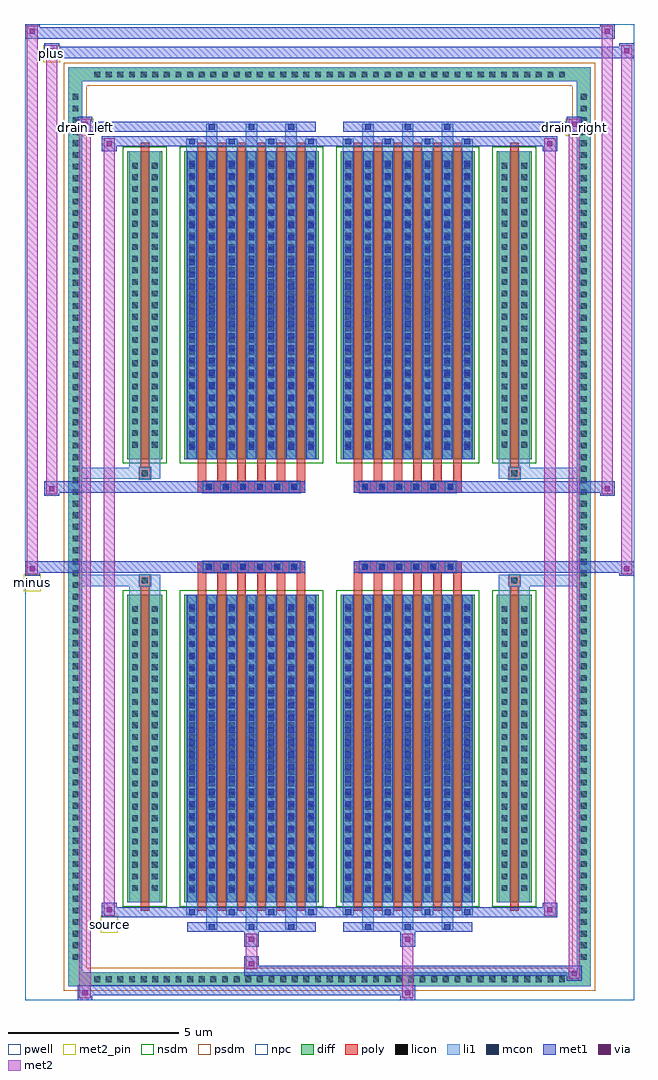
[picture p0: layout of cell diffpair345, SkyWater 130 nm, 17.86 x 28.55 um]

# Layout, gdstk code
import gdstk
lib = gdstk.Library(unit=1e-6, precision=5e-09)
def R(c, l, rs):  # rectangles x0, y0, x1, y1
    for r in rs: c.add(gdstk.rectangle(r[:2], r[2:], *l))
def A(c, l, x, y, w, h, nx, ny, dx, dy):  # array of equal rectangles
    R(c, l, [(x+i*dx, y+j*dy, x+i*dx+w, y+j*dy+h) for i in range(nx) for j in range(ny)])
def P(c, l, *ps):  # polygons
    for p in ps: c.add(gdstk.Polygon(p, *l))
pwell = (64, 44)
diff = (65, 20)
poly = (66, 20)
licon = (66, 44)
li1 = (67, 20)
mcon = (67, 44)
met1 = (68, 20)
via = (68, 44)
met2_pin = (69, 16)
met2 = (69, 20)
nsdm = (93, 44)
psdm = (94, 20)
npc = (95, 20)

diffpair345 = lib.new_cell('diffpair345')
R(diffpair345, pwell, [(-8.91,-13.84,8.91,14.71), (-6.23,-12.03,-0.01,-0.805), (0.01,-12.03,6.23,-0.805), (-6.23,0.805,-0.01,12.03), (0.01,0.805,6.23,12.03)])
A(diffpair345, diff, -7.005, -13.44, 0.41, 0.41, 41, 2, 0.34, 26.47)
A(diffpair345, diff, -7.64, -12.785, 0.41, 0.41, 1, 75, 0, 0.34)
A(diffpair345, diff, 7.23, -12.785, 0.41, 0.41, 1, 75, 0, 0.34)
R(diffpair345, diff, [(-7.005,-13.44,7.005,-13.03), (-7.64,-12.785,-7.23,12.785), (7.23,-12.785,7.64,12.785), (-5.92,-10.985,-4.89,-1.985), (-4.25,-10.985,-0.32,-1.985), (0.32,-10.985,4.25,-1.985), (4.89,-10.985,5.92,-1.985), (-5.92,1.985,-4.89,10.985), (-4.25,1.985,-0.32,10.985), (0.32,1.985,4.25,10.985), (4.89,1.985,5.92,10.985), (-7.005,13.03,7.005,13.44)])
P(diffpair345, diff, [(7.64,13.44),(-7.64,13.44),(-7.64,-13.03),(-7.23,-13.03),(-7.23,13.03),(7.23,13.03),(7.23,-13.03),(-7.23,-13.03),(-7.64,-13.03),(-7.64,-13.44),(7.64,-13.44)])
A(diffpair345, poly, -3.86, -11.235, 0.25, 9.5, 6, 2, 0.58, 12.97)
A(diffpair345, poly, 0.71, -11.235, 0.25, 9.5, 6, 2, 0.58, 12.97)
A(diffpair345, poly, -3.86, -1.735, 0.25, 0.4, 6, 2, 0.58, 3.07)
A(diffpair345, poly, 0.71, -1.735, 0.25, 0.4, 6, 2, 0.58, 3.07)
A(diffpair345, poly, -3.7, -1.335, 0.33, 0.33, 6, 2, 0.5, 2.34)
A(diffpair345, poly, 0.87, -1.335, 0.33, 0.33, 6, 2, 0.5, 2.34)
R(diffpair345, poly, [(-5.53,-11.235,-5.28,-1.735), (5.28,-11.235,5.53,-1.735), (-5.57,-1.735,-5.24,-1.405), (-5.57,-1.735,-5.24,-1.405), (5.24,-1.735,5.57,-1.405), (5.24,-1.735,5.57,-1.405), (-3.86,-1.335,-0.71,-1.005), (0.71,-1.335,3.86,-1.005), (-3.86,1.005,-0.71,1.335), (0.71,1.005,3.86,1.335), (-5.57,1.405,-5.24,1.735), (-5.57,1.405,-5.24,1.735), (5.24,1.405,5.57,1.735), (5.24,1.405,5.57,1.735), (-5.53,1.735,-5.28,11.235), (5.28,1.735,5.53,11.235)])
A(diffpair345, licon, -6.885, -13.32, 0.17, 0.17, 41, 2, 0.34, 26.47)
A(diffpair345, licon, -7.52, -12.665, 0.17, 0.17, 1, 75, 0, 0.34)
A(diffpair345, licon, 7.35, -12.665, 0.17, 0.17, 1, 75, 0, 0.34)
A(diffpair345, licon, -5.78, -10.65, 0.17, 0.17, 1, 25, 0, 0.34)
A(diffpair345, licon, -5.2, -10.65, 0.17, 0.17, 1, 25, 0, 0.34)
A(diffpair345, licon, -4.11, -10.65, 0.17, 0.17, 7, 25, 0.58, 0.34)
A(diffpair345, licon, 0.46, -10.65, 0.17, 0.17, 7, 25, 0.58, 0.34)
A(diffpair345, licon, 5.03, -10.65, 0.17, 0.17, 1, 25, 0, 0.34)
A(diffpair345, licon, 5.61, -10.65, 0.17, 0.17, 1, 25, 0, 0.34)
A(diffpair345, licon, -3.62, -1.255, 0.17, 0.17, 6, 2, 0.5, 2.34)
A(diffpair345, licon, 0.95, -1.255, 0.17, 0.17, 6, 2, 0.5, 2.34)
A(diffpair345, licon, -5.78, 2.32, 0.17, 0.17, 1, 25, 0, 0.34)
A(diffpair345, licon, -5.2, 2.32, 0.17, 0.17, 1, 25, 0, 0.34)
A(diffpair345, licon, -4.11, 2.32, 0.17, 0.17, 7, 25, 0.58, 0.34)
A(diffpair345, licon, 0.46, 2.32, 0.17, 0.17, 7, 25, 0.58, 0.34)
A(diffpair345, licon, 5.03, 2.32, 0.17, 0.17, 1, 25, 0, 0.34)
A(diffpair345, licon, 5.61, 2.32, 0.17, 0.17, 1, 25, 0, 0.34)
R(diffpair345, licon, [(-5.49,-1.655,-5.32,-1.485), (5.32,-1.655,5.49,-1.485), (-5.49,1.485,-5.32,1.655), (5.32,1.485,5.49,1.655)])
A(diffpair345, li1, -6.965, -13.4, 0.33, 0.33, 41, 2, 0.34, 26.47)
A(diffpair345, li1, -7.6, -12.745, 0.33, 0.33, 1, 75, 0, 0.34)
A(diffpair345, li1, 7.27, -12.745, 0.33, 0.33, 1, 75, 0, 0.34)
A(diffpair345, li1, -3.61, -11.79, 0.33, 0.805, 3, 2, 1.16, 22.775)
A(diffpair345, li1, -3.53, -11.79, 0.17, 0.17, 3, 2, 1.16, 23.41)
A(diffpair345, li1, 0.96, -11.79, 0.33, 0.805, 3, 2, 1.16, 22.775)
A(diffpair345, li1, 1.04, -11.79, 0.17, 0.17, 3, 2, 1.16, 23.41)
A(diffpair345, li1, -4.19, -11.36, 0.33, 0.375, 4, 2, 1.16, 22.345)
A(diffpair345, li1, -4.11, -11.36, 0.17, 0.17, 4, 2, 1.16, 22.55)
A(diffpair345, li1, 0.38, -11.36, 0.33, 0.375, 4, 2, 1.16, 22.345)
A(diffpair345, li1, 0.46, -11.36, 0.17, 0.17, 4, 2, 1.16, 22.55)
A(diffpair345, li1, -4.19, -10.985, 0.33, 9, 7, 2, 0.58, 12.97)
A(diffpair345, li1, 0.38, -10.985, 0.33, 9, 7, 2, 0.58, 12.97)
A(diffpair345, li1, -5.86, -10.73, 0.33, 0.33, 1, 25, 0, 0.34)
A(diffpair345, li1, -5.28, -10.73, 0.33, 0.33, 1, 25, 0, 0.34)
A(diffpair345, li1, -4.19, -10.73, 0.33, 0.33, 7, 25, 0.58, 0.34)
A(diffpair345, li1, 0.38, -10.73, 0.33, 0.33, 7, 25, 0.58, 0.34)
A(diffpair345, li1, 4.95, -10.73, 0.33, 0.33, 1, 25, 0, 0.34)
A(diffpair345, li1, 5.53, -10.73, 0.33, 0.33, 1, 25, 0, 0.34)
A(diffpair345, li1, -4.11, -10.71, 0.17, 0.17, 7, 24, 0.58, 0.36)
A(diffpair345, li1, -4.11, -10.71, 0.17, 8.45, 7, 2, 0.58, 12.97)
A(diffpair345, li1, 0.46, -10.71, 0.17, 0.17, 7, 24, 0.58, 0.36)
A(diffpair345, li1, 0.46, -10.71, 0.17, 8.45, 7, 2, 0.58, 12.97)
A(diffpair345, li1, -3.7, -1.335, 0.33, 0.33, 6, 2, 0.5, 2.34)
A(diffpair345, li1, 0.87, -1.335, 0.33, 0.33, 6, 2, 0.5, 2.34)
A(diffpair345, li1, -5.86, 2.24, 0.33, 0.33, 1, 25, 0, 0.34)
A(diffpair345, li1, -5.28, 2.24, 0.33, 0.33, 1, 25, 0, 0.34)
A(diffpair345, li1, -4.19, 2.24, 0.33, 0.33, 7, 25, 0.58, 0.34)
A(diffpair345, li1, 0.38, 2.24, 0.33, 0.33, 7, 25, 0.58, 0.34)
A(diffpair345, li1, 4.95, 2.24, 0.33, 0.33, 1, 25, 0, 0.34)
A(diffpair345, li1, 5.53, 2.24, 0.33, 0.33, 1, 25, 0, 0.34)
A(diffpair345, li1, -4.11, 2.26, 0.17, 0.17, 7, 24, 0.58, 0.36)
A(diffpair345, li1, 0.46, 2.26, 0.17, 0.17, 7, 24, 0.58, 0.36)
R(diffpair345, li1, [(-7.64,-13.44,-7.23,-13.03), (-7.64,-13.44,-7.23,-13.03), (-7.23,-13.44,7.23,-13.03), (7.23,-13.44,7.64,-13.03), (7.23,-13.44,7.64,-13.03), (-7.64,-13.03,-7.23,13.03), (7.23,-13.03,7.64,13.03), (-5.86,-10.985,-5.53,-1.985), (-5.28,-10.985,-4.95,-1.985), (4.95,-10.985,5.28,-1.985), (5.53,-10.985,5.86,-1.985), (-5.86,-1.985,-5.53,-1.405), (-5.28,-1.985,-4.95,-1.405), (4.95,-1.985,5.28,-1.405), (5.53,-1.985,5.86,-1.405), (-7.64,-1.735,-5.57,-1.405), (-5.86,-1.735,-5.57,-1.405), (-5.57,-1.735,-5.24,-1.405), (-5.24,-1.735,-4.95,-1.405), (4.95,-1.735,5.24,-1.405), (5.24,-1.735,5.57,-1.405), (5.24,-1.735,7.64,-1.405), (5.57,-1.735,5.86,-1.405), (-7.64,1.405,-5.57,1.735), (-5.86,1.405,-5.57,1.735), (-5.86,1.405,-5.53,1.985), (-5.57,1.405,-5.24,1.735), (-5.28,1.405,-4.95,1.985), (-5.24,1.405,-4.95,1.735), (4.95,1.405,5.24,1.735), (4.95,1.405,5.28,1.985), (5.24,1.405,5.57,1.735), (5.24,1.405,7.64,1.735), (5.53,1.405,5.86,1.985), (5.57,1.405,5.86,1.735), (-5.86,1.985,-5.53,10.985), (-5.28,1.985,-4.95,10.985), (4.95,1.985,5.28,10.985), (5.53,1.985,5.86,10.985), (-7.64,13.03,-7.23,13.44), (-7.64,13.03,-7.23,13.44), (-7.23,13.03,7.23,13.44), (7.23,13.03,7.64,13.44), (7.23,13.03,7.64,13.44)])
A(diffpair345, mcon, -3.53, -11.79, 0.17, 0.17, 3, 2, 1.16, 23.41)
A(diffpair345, mcon, 1.04, -11.79, 0.17, 0.17, 3, 2, 1.16, 23.41)
A(diffpair345, mcon, -4.11, -11.36, 0.17, 0.17, 4, 2, 1.16, 22.55)
A(diffpair345, mcon, 0.46, -11.36, 0.17, 0.17, 4, 2, 1.16, 22.55)
A(diffpair345, mcon, -4.11, -10.71, 0.17, 0.17, 7, 24, 0.58, 0.36)
A(diffpair345, mcon, 0.46, -10.71, 0.17, 0.17, 7, 24, 0.58, 0.36)
A(diffpair345, mcon, -3.62, -1.255, 0.17, 0.17, 6, 2, 0.5, 2.34)
A(diffpair345, mcon, 0.95, -1.255, 0.17, 0.17, 6, 2, 0.5, 2.34)
A(diffpair345, mcon, -4.11, 2.26, 0.17, 0.17, 7, 24, 0.58, 0.36)
A(diffpair345, mcon, 0.46, 2.26, 0.17, 0.17, 7, 24, 0.58, 0.36)
A(diffpair345, met1, -3.59, -11.85, 0.29, 0.29, 3, 2, 1.16, 23.41)
A(diffpair345, met1, 0.98, -11.85, 0.29, 0.29, 3, 2, 1.16, 23.41)
A(diffpair345, met1, -4.17, -11.42, 0.29, 0.29, 4, 2, 1.16, 22.55)
A(diffpair345, met1, 0.4, -11.42, 0.29, 0.29, 4, 2, 1.16, 22.55)
A(diffpair345, met1, -4.17, -10.985, 0.29, 9, 7, 2, 0.58, 12.97)
A(diffpair345, met1, 0.4, -10.985, 0.29, 9, 7, 2, 0.58, 12.97)
A(diffpair345, met1, -4.17, -10.77, 0.29, 0.29, 7, 24, 0.58, 0.36)
A(diffpair345, met1, 0.4, -10.77, 0.29, 0.29, 7, 24, 0.58, 0.36)
A(diffpair345, met1, -3.68, -1.315, 0.29, 0.29, 6, 2, 0.5, 2.34)
A(diffpair345, met1, 0.89, -1.315, 0.29, 0.29, 6, 2, 0.5, 2.34)
A(diffpair345, met1, -4.17, 2.2, 0.29, 0.29, 7, 24, 0.58, 0.36)
A(diffpair345, met1, 0.4, 2.2, 0.29, 0.29, 7, 24, 0.58, 0.36)
R(diffpair345, met1, [(-7.37,-13.84,-6.94,-13.41), (2.07,-13.84,2.5,-13.41), (-7.37,-13.7,2.5,-13.41), (6.94,-13.27,7.37,-12.84), (-2.5,-13.13,7.37,-12.84), (-2.5,-12.99,-2.07,-12.56), (-2.5,-12.28,-2.07,-11.85), (2.07,-12.28,2.5,-11.85), (-4.17,-11.85,-0.4,-11.56), (0.4,-11.85,4.17,-11.56), (-6.66,-11.42,-6.23,-10.99), (-6.66,-11.42,-4.17,-11.13), (-4.17,-11.42,-0.4,-11.13), (-0.4,-11.42,0.4,-11.13), (0.4,-11.42,4.17,-11.13), (4.17,-11.42,6.66,-11.13), (6.23,-11.42,6.66,-10.99), (-8.91,-1.435,-8.48,-1.005), (8.48,-1.435,8.91,-1.005), (-8.91,-1.335,-0.71,-1.005), (-3.86,-1.335,-0.71,-1.005), (0.71,-1.335,3.86,-1.005), (0.71,-1.335,8.91,-1.005), (-8.34,0.905,-7.91,1.335), (7.91,0.905,8.34,1.335), (-8.34,1.005,-3.86,1.335), (-3.86,1.005,-0.71,1.335), (0.71,1.005,3.86,1.335), (3.86,1.005,8.34,1.335), (-6.66,10.99,-6.23,11.42), (6.23,10.99,6.66,11.42), (-6.66,11.13,-4.17,11.42), (-4.17,11.13,-0.4,11.42), (-0.4,11.13,0.4,11.42), (0.4,11.13,4.17,11.42), (4.17,11.13,6.66,11.42), (-7.37,11.56,-6.94,11.99), (-7.37,11.56,-4.17,11.85), (-4.17,11.56,-0.4,11.85), (0.4,11.56,4.17,11.85), (4.17,11.56,7.37,11.85), (6.94,11.56,7.37,11.99), (-8.34,13.71,-7.91,14.14), (-8.34,13.71,-6.23,14.04), (-6.23,13.71,6.23,14.04), (6.23,13.71,8.91,14.04), (8.48,13.71,8.91,14.14), (-8.91,14.28,-8.48,14.71), (-8.91,14.28,-6.23,14.61), (-6.23,14.28,6.23,14.61), (6.23,14.28,8.34,14.61), (7.91,14.28,8.34,14.71)])
R(diffpair345, via, [(-7.23,-13.7,-7.08,-13.55), (2.21,-13.7,2.36,-13.55), (7.08,-13.13,7.23,-12.98), (-2.36,-12.85,-2.21,-12.7), (-2.36,-12.14,-2.21,-11.99), (2.21,-12.14,2.36,-11.99), (-6.52,-11.28,-6.37,-11.13), (6.37,-11.28,6.52,-11.13), (-8.77,-1.295,-8.62,-1.145), (8.62,-1.295,8.77,-1.145), (-8.2,1.045,-8.05,1.195), (8.05,1.045,8.2,1.195), (-6.52,11.13,-6.37,11.28), (6.37,11.13,6.52,11.28), (-7.23,11.7,-7.08,11.85), (7.08,11.7,7.23,11.85), (-8.2,13.85,-8.05,14), (8.62,13.85,8.77,14), (-8.77,14.42,-8.62,14.57), (8.05,14.42,8.2,14.57)])
R(diffpair345, met2_pin, [(-6.695,-11.87,-6.195,-11.37), (-8.945,-1.885,-8.445,-1.385), (-7.405,11.44,-6.905,11.94), (6.905,11.44,7.405,11.94), (-8.375,13.59,-7.875,14.09)])
R(diffpair345, met2, [(-7.32,-13.79,-6.99,-13.46), (-7.32,-13.79,-6.99,11.94), (2.12,-13.79,2.45,-13.46), (2.12,-13.46,2.45,-12.23), (6.99,-13.22,7.32,-12.89), (6.99,-13.22,7.32,11.94), (-2.45,-12.94,-2.12,-12.61), (-2.45,-12.61,-2.12,-12.23), (-2.45,-12.23,-2.12,-11.9), (2.12,-12.23,2.45,-11.9), (-6.61,-11.37,-6.28,-11.04), (-6.61,-11.37,-6.28,11.37), (6.28,-11.37,6.61,-11.04), (6.28,-11.37,6.61,11.37), (-8.86,-1.385,-8.53,-1.055), (-8.86,-1.385,-8.53,14.66), (8.53,-1.385,8.86,-1.055), (8.53,-1.385,8.86,14.09), (-8.29,0.955,-7.96,1.285), (-8.29,0.955,-7.96,14.09), (7.96,0.955,8.29,1.285), (7.96,0.955,8.29,14.66), (-6.61,11.04,-6.28,11.37), (6.28,11.04,6.61,11.37), (-7.32,11.61,-6.99,11.94), (6.99,11.61,7.32,11.94), (-8.29,13.76,-7.96,14.09), (8.53,13.76,8.86,14.09), (-8.86,14.33,-8.53,14.66), (7.96,14.33,8.29,14.66)])
P(diffpair345, met2, [(8.86,-1.385),(8.86,-1.385),(8.86,-1.055),(8.86,-1.055)],
  [(8.86,13.76),(8.86,13.76),(8.86,14.09),(8.86,14.09)],
  [(-8.53,-1.385),(-8.53,-1.385),(-8.53,-1.055),(-8.53,-1.055)],
  [(-8.53,14.33),(-8.53,14.33),(-8.53,14.66),(-8.53,14.66)],
  [(8.29,0.955),(8.29,0.955),(8.29,1.285),(8.29,1.285)],
  [(8.29,14.33),(8.29,14.33),(8.29,14.66),(8.29,14.66)],
  [(-7.96,0.955),(-7.96,0.955),(-7.96,1.285),(-7.96,1.285)],
  [(-7.96,13.76),(-7.96,13.76),(-7.96,14.09),(-7.96,14.09)],
  [(-6.99,-13.79),(-6.99,-13.79),(-6.99,-13.46),(-6.99,-13.46)],
  [(-6.99,11.61),(-6.99,11.61),(-6.99,11.94),(-6.99,11.94)],
  [(7.32,-13.22),(7.32,-13.22),(7.32,-12.89),(7.32,-12.89)],
  [(7.32,11.61),(7.32,11.61),(7.32,11.94),(7.32,11.94)],
  [(-6.28,-11.37),(-6.28,-11.37),(-6.28,-11.04),(-6.28,-11.04)],
  [(-6.28,11.04),(-6.28,11.04),(-6.28,11.37),(-6.28,11.37)],
  [(6.61,-11.37),(6.61,-11.37),(6.61,-11.04),(6.61,-11.04)],
  [(6.61,11.04),(6.61,11.04),(6.61,11.37),(6.61,11.37)])
R(diffpair345, nsdm, [(-6.05,-11.115,-4.76,-1.855), (-4.38,-11.115,-0.19,-1.855), (0.19,-11.115,4.38,-1.855), (4.76,-11.115,6.05,-1.855), (-6.05,1.855,-4.76,11.115), (-4.38,1.855,-0.19,11.115), (0.19,1.855,4.38,11.115), (4.76,1.855,6.05,11.115)])
P(diffpair345, psdm, [(7.77,13.57),(-7.77,13.57),(-7.77,-12.9),(-7.1,-12.9),(-7.1,12.9),(7.1,12.9),(7.1,-12.9),(-7.1,-12.9),(-7.77,-12.9),(-7.77,-13.57),(7.77,-13.57)])
A(diffpair345, npc, -3.72, -1.355, 0.37, 0.37, 6, 2, 0.5, 2.34)
A(diffpair345, npc, 0.85, -1.355, 0.37, 0.37, 6, 2, 0.5, 2.34)
R(diffpair345, npc, [(-5.59,-1.755,-5.22,-1.385), (5.22,-1.755,5.59,-1.385), (-3.72,-1.355,-2.85,-0.985), (-3.72,-1.355,-2.85,-0.985), (-3.22,-1.355,-2.35,-0.985), (-3.22,-1.355,-2.35,-0.985), (-2.72,-1.355,-1.85,-0.985), (-2.72,-1.355,-1.85,-0.985), (-2.22,-1.355,-1.35,-0.985), (-2.22,-1.355,-1.35,-0.985), (-1.72,-1.355,-0.85,-0.985), (-1.72,-1.355,-0.85,-0.985), (0.85,-1.355,1.72,-0.985), (0.85,-1.355,1.72,-0.985), (1.35,-1.355,2.22,-0.985), (1.35,-1.355,2.22,-0.985), (1.85,-1.355,2.72,-0.985), (1.85,-1.355,2.72,-0.985), (2.35,-1.355,3.22,-0.985), (2.35,-1.355,3.22,-0.985), (2.85,-1.355,3.72,-0.985), (2.85,-1.355,3.72,-0.985), (-3.72,0.985,-2.85,1.355), (-3.72,0.985,-2.85,1.355), (-3.22,0.985,-2.35,1.355), (-3.22,0.985,-2.35,1.355), (-2.72,0.985,-1.85,1.355), (-2.72,0.985,-1.85,1.355), (-2.22,0.985,-1.35,1.355), (-2.22,0.985,-1.35,1.355), (-1.72,0.985,-0.85,1.355), (-1.72,0.985,-0.85,1.355), (0.85,0.985,1.72,1.355), (0.85,0.985,1.72,1.355), (1.35,0.985,2.22,1.355), (1.35,0.985,2.22,1.355), (1.85,0.985,2.72,1.355), (1.85,0.985,2.72,1.355), (2.35,0.985,3.22,1.355), (2.35,0.985,3.22,1.355), (2.85,0.985,3.72,1.355), (2.85,0.985,3.72,1.355), (-5.59,1.385,-5.22,1.755), (5.22,1.385,5.59,1.755)])
diffpair345.add(gdstk.Label('minus', (-8.695,-1.635), layer=69, texttype=5))
diffpair345.add(gdstk.Label('drain_right', (7.155,11.69), layer=69, texttype=5))
diffpair345.add(gdstk.Label('drain_left', (-7.155,11.69), layer=69, texttype=5))
diffpair345.add(gdstk.Label('source', (-6.445,-11.62), layer=69, texttype=5))
diffpair345.add(gdstk.Label('plus', (-8.125,13.84), layer=69, texttype=5))

lib.write_gds('diffpair345.gds')
